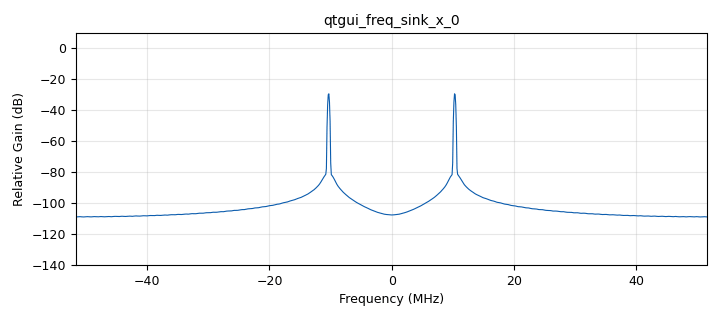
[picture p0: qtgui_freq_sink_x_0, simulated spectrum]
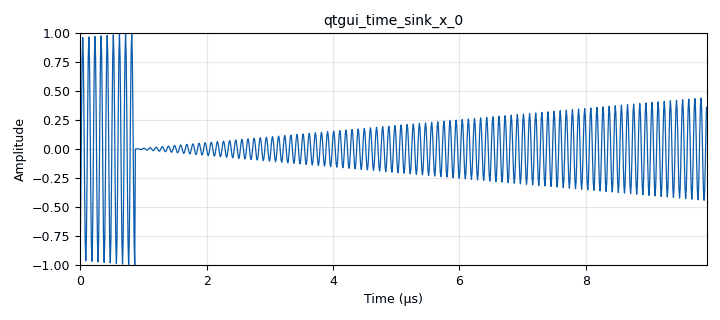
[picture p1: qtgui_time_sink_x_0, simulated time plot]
options:
  parameters:
    generate_options: qt_gui
    id: B2_lab3_G3
    output_language: python
    title: Not titled yet
  states: {}

blocks:
- name: A
  id: variable_qtgui_range
  parameters:
    label: Amplitud
    orient: Qt.Horizontal
    start: '0'
    step: '1'
    stop: '100'
    value: '1'
  states: {}
- name: samp_rate
  id: variable
  parameters:
    value: 10321920*10
  states: {}
- name: CalculoPotenciaComunicaciones_0_0
  id: CalculoPotenciaComunicaciones
  parameters:
    l_vect: '1024'
  states: {}
- name: analog_sig_source_x_0
  id: analog_sig_source_x
  parameters:
    amp: A
    freq: '10321920'
    offset: '0'
    phase: '0'
    samp_rate: samp_rate
    type: float
    waveform: analog.GR_COS_WAVE
  states: {}
- name: analog_sig_source_x_1
  id: analog_sig_source_x
  parameters:
    amp: '1'
    freq: '49000'
    offset: '0'
    phase: '0'
    samp_rate: samp_rate
    type: float
    waveform: analog.GR_SAW_WAVE
  states: {}
- name: blocks_multiply_xx_0
  id: blocks_multiply_xx
  parameters:
    type: float
  states: {}
- name: qtgui_freq_sink_x_0
  id: qtgui_freq_sink_x
  parameters:
    bw: samp_rate
    fc: '0'
    fftsize: '1024'
    type: float
    wintype: firdes.WIN_BLACKMAN_hARRIS
  states: {}
- name: qtgui_time_sink_x_0
  id: qtgui_time_sink_x
  parameters:
    size: '1024'
    srate: samp_rate
    type: float
  states: {}

connections:
- [analog_sig_source_x_0, '0', blocks_multiply_xx_0, '1']
- [analog_sig_source_x_1, '0', blocks_multiply_xx_0, '0']
- [blocks_multiply_xx_0, '0', CalculoPotenciaComunicaciones_0_0, '0']
- [blocks_multiply_xx_0, '0', qtgui_freq_sink_x_0, '0']
- [blocks_multiply_xx_0, '0', qtgui_time_sink_x_0, '0']

metadata:
  file_format: 1
